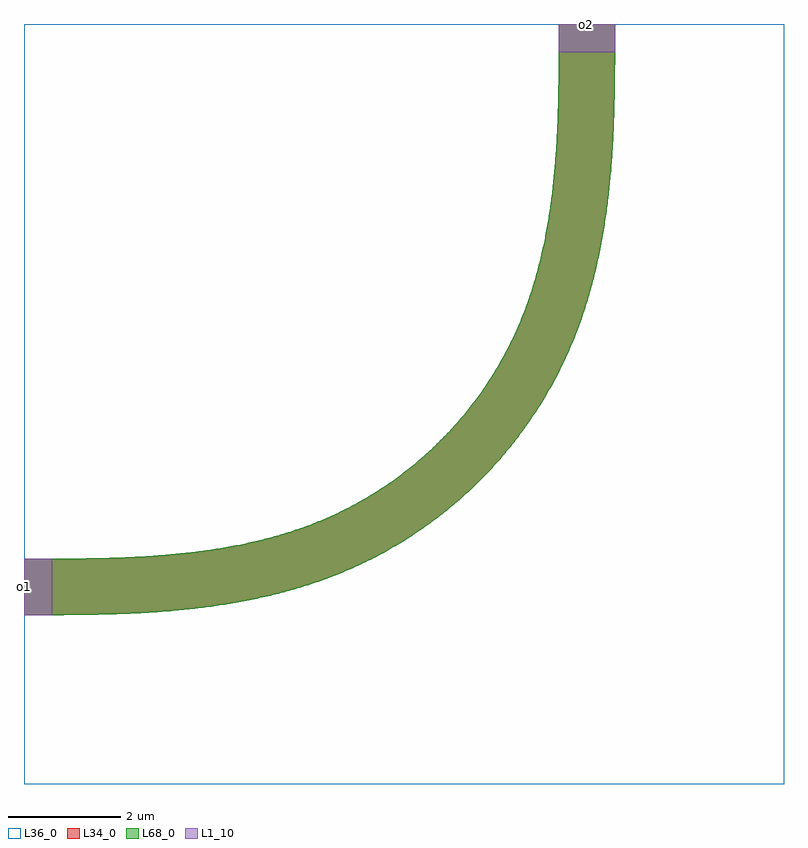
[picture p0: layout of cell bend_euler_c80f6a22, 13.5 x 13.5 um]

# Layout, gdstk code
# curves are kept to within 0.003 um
import gdstk
lib = gdstk.Library(unit=1e-6, precision=1e-09)
def R(c, l, rs):  # rectangles x0, y0, x1, y1
    for r in rs: c.add(gdstk.rectangle(r[:2], r[2:], *l))
def P(c, l, *ps):  # polygons
    for p in ps: c.add(gdstk.Polygon(p, *l))
L1_10 = (1, 10)
L34_0 = (34, 0)
L36_0 = (36, 0)
L68_0 = (68, 0)

bend_euler_c80f6a22 = lib.new_cell('bend_euler_c80f6a22')
R(bend_euler_c80f6a22, L1_10, [(0,-0.5,0.5,0.5), (9.5,9.5,10.5,10)])
P(bend_euler_c80f6a22, L34_0, [(0.047,-0.5),(1.079,-0.495),(1.695,-0.48),(2.077,-0.463),(2.555,-0.431),(2.939,-0.395),(3.324,-0.348),(3.757,-0.281),(4.189,-0.196),(4.476,-0.129),(4.809,-0.039),(5.187,0.08),(5.467,0.182),(5.745,0.295),(5.974,0.398),(6.262,0.541),(2.114,0.541),(1.705,0.521),(1.202,0.507),(0.696,0.501),(0,0.5),(0,-0.5)],
  [(6.289,0.556),(6.597,0.727),(6.896,0.913),(7.146,1.083),(7.428,1.294),(7.738,1.551),(7.997,1.789),(8.211,2.003),(8.482,2.3),(7.075,2.3),(6.878,2.135),(6.601,1.923),(6.312,1.726),(6.052,1.567),(5.861,1.46),(5.549,1.303),(5.229,1.163),(4.945,1.055),(4.614,0.946),(4.276,0.852),(3.976,0.781),(3.584,0.704),(3.233,0.649),(2.743,0.59),(2.474,0.566),(2.114,0.541),(6.262,0.541)],
  [(8.515,2.339),(8.706,2.572),(8.828,2.732),(8.946,2.895),(9.087,3.104),(9.273,3.403),(9.373,3.578),(9.468,3.755),(9.602,4.026),(9.685,4.209),(9.782,4.44),(9.92,4.813),(10.011,5.096),(10.092,5.381),(10.175,5.716),(10.216,5.907),(9.192,5.907),(9.126,5.639),(9.054,5.386),(8.945,5.055),(8.869,4.851),(8.769,4.61),(8.64,4.333),(8.498,4.062),(8.389,3.873),(8.202,3.578),(8.077,3.399),(7.946,3.224),(7.781,3.02),(7.609,2.823),(7.429,2.633),(7.273,2.48),(7.075,2.3),(8.482,2.3)],
  [(10.226,5.955),(10.313,6.436),(10.361,6.772),(10.405,7.157),(10.442,7.589),(10.47,8.066),(10.486,8.495),(10.497,9.062),(10.5,10),(9.5,10),(9.498,9.166),(9.489,8.615),(9.469,8.068),(9.441,7.616),(9.41,7.257),(9.345,6.723),(9.272,6.285),(9.192,5.907),(10.216,5.907)])
R(bend_euler_c80f6a22, L36_0, [(0,-3.5,13.5,10)])
P(bend_euler_c80f6a22, L68_0, [(0.047,-0.5),(1.079,-0.495),(1.695,-0.48),(2.077,-0.463),(2.555,-0.431),(2.939,-0.395),(3.324,-0.348),(3.757,-0.281),(4.189,-0.196),(4.476,-0.129),(4.809,-0.039),(5.187,0.08),(5.467,0.182),(5.745,0.295),(5.974,0.398),(6.262,0.541),(2.114,0.541),(1.705,0.521),(1.202,0.507),(0.696,0.501),(0,0.5),(0,-0.5)],
  [(6.289,0.556),(6.597,0.727),(6.896,0.913),(7.146,1.083),(7.428,1.294),(7.738,1.551),(7.997,1.789),(8.211,2.003),(8.482,2.3),(7.075,2.3),(6.878,2.135),(6.601,1.923),(6.312,1.726),(6.052,1.567),(5.861,1.46),(5.549,1.303),(5.229,1.163),(4.945,1.055),(4.614,0.946),(4.276,0.852),(3.976,0.781),(3.584,0.704),(3.233,0.649),(2.743,0.59),(2.474,0.566),(2.114,0.541),(6.262,0.541)],
  [(8.515,2.339),(8.706,2.572),(8.828,2.732),(8.946,2.895),(9.087,3.104),(9.273,3.403),(9.373,3.578),(9.468,3.755),(9.602,4.026),(9.685,4.209),(9.782,4.44),(9.92,4.813),(10.011,5.096),(10.092,5.381),(10.175,5.716),(10.216,5.907),(9.192,5.907),(9.126,5.639),(9.054,5.386),(8.945,5.055),(8.869,4.851),(8.769,4.61),(8.64,4.333),(8.498,4.062),(8.389,3.873),(8.202,3.578),(8.077,3.399),(7.946,3.224),(7.781,3.02),(7.609,2.823),(7.429,2.633),(7.273,2.48),(7.075,2.3),(8.482,2.3)],
  [(10.226,5.955),(10.313,6.436),(10.361,6.772),(10.405,7.157),(10.442,7.589),(10.47,8.066),(10.486,8.495),(10.497,9.062),(10.5,10),(9.5,10),(9.498,9.166),(9.489,8.615),(9.469,8.068),(9.441,7.616),(9.41,7.257),(9.345,6.723),(9.272,6.285),(9.192,5.907),(10.216,5.907)])
bend_euler_c80f6a22.add(gdstk.Label('o1', (0,0), layer=1, texttype=10))
bend_euler_c80f6a22.add(gdstk.Label('o2', (10,10), layer=1, texttype=10))

lib.write_gds('bend_euler_c80f6a22.gds')
